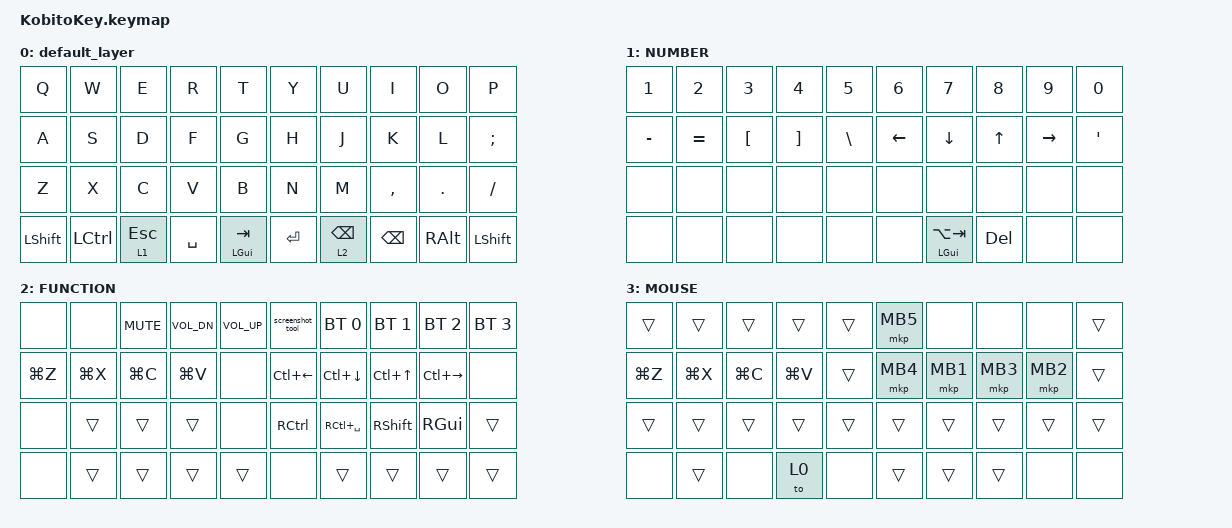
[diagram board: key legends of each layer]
#include <input/processors.dtsi>
#include <behaviors.dtsi>
#include <dt-bindings/zmk/bt.h>
#include <dt-bindings/zmk/keys.h>
#include <dt-bindings/zmk/pointing.h>

/ {
    combos {
        compatible = "zmk,combos";

        combo_kana {
            timeout-ms = <50>;
            key-positions = <12 13>;
            bindings = <&kp LANG1>;
        };

        combo_eisu {
            timeout-ms = <50>;
            key-positions = <16 17>;
            bindings = <&kp LANG2>;
        };

        combo_esc {
            timeout-ms = <50>;
            key-positions = <0 1>;
            bindings = <&kp ESC>;
        };

        combo_tab {
            timeout-ms = <50>;
            key-positions = <10 11>;
            bindings = <&kp TILDE>;
        };
    };

    macros {
        screenshot_tool: snapShot {
            compatible = "zmk,behavior-macro";
            #binding-cells = <0>;
            bindings =
                <&macro_press>,
                <&kp LEFT_GUI &kp LEFT_SHIFT &kp N5>,
                <&macro_release>,
                <&kp LEFT_GUI &kp LEFT_SHIFT>;

            label = "SNAPSHOT";
        };
    };

    keymap {
        compatible = "zmk,keymap";

        default_layer {
            bindings = <
&kp Q      &kp W      &kp E         &kp R      &kp T         &kp Y      &kp U            &kp I          &kp O          &kp P
&kp A      &kp S      &kp D         &kp F      &kp G         &kp H      &kp J            &kp K          &kp L          &kp SEMI
&kp Z      &kp X      &kp C         &kp V      &kp B         &kp N      &kp M            &kp COMMA      &kp DOT        &kp SLASH
&kp LSHFT  &kp LCTRL  &lt 1 ESCAPE  &kp SPACE  &mt LGUI TAB  &kp ENTER  &lt 2 BACKSPACE  &kp BACKSPACE  &kp RIGHT_ALT  &kp LEFT_SHIFT
            >;
        };

        layer1 {
            label = "NUMBER";
            bindings = <
&kp N1     &kp N2     &kp N3            &kp N4             &kp N5         &kp N6          &kp N7                &kp N8      &kp N9     &kp N0
&kp MINUS  &kp EQUAL  &kp LEFT_BRACKET  &kp RIGHT_BRACKET  &kp BACKSLASH  &kp LEFT_ARROW  &kp DOWN              &kp UP      &kp RIGHT  &kp SINGLE_QUOTE
&none      &none      &none             &none              &none          &none           &none                 &none       &none      &none
&none      &none      &none             &none              &none          &none           &mt LEFT_GUI LA(TAB)  &kp DELETE  &none      &none
            >;
        };

        layer2 {
            label = "FUNCTION";
            bindings = <
&none      &none      &kp K_MUTE  &kp C_VOL_DN  &kp C_VOLUME_UP  &screenshot_tool  &bt BT_SEL 0   &bt BT_SEL 1      &bt BT_SEL 2   &bt BT_SEL 3
&kp LG(Z)  &kp LG(X)  &kp LG(C)   &kp LG(V)     &none            &kp LC(LEFT)      &kp LC(DOWN)   &kp LC(UP_ARROW)  &kp LC(RIGHT)  &none
&none      &trans     &trans      &trans        &none            &kp RCTRL         &kp RC(SPACE)  &kp RIGHT_SHIFT   &kp RIGHT_GUI  &trans
&none      &trans     &trans      &trans        &trans           &none             &trans         &trans            &trans         &trans
            >;
        };

        layer3 {
            label = "MOUSE";
            bindings = <
&trans     &trans     &trans     &trans     &trans  &mkp MB5  &none     &none     &none     &trans
&kp LG(Z)  &kp LG(X)  &kp LG(C)  &kp LG(V)  &trans  &mkp MB4  &mkp MB1  &mkp MB3  &mkp MB2  &trans
&trans     &trans     &trans     &trans     &trans  &trans    &trans    &trans    &trans    &trans
&none      &trans     &none      &to 0      &none   &trans    &trans    &trans    &none     &none
            >;
        };
    };
};
